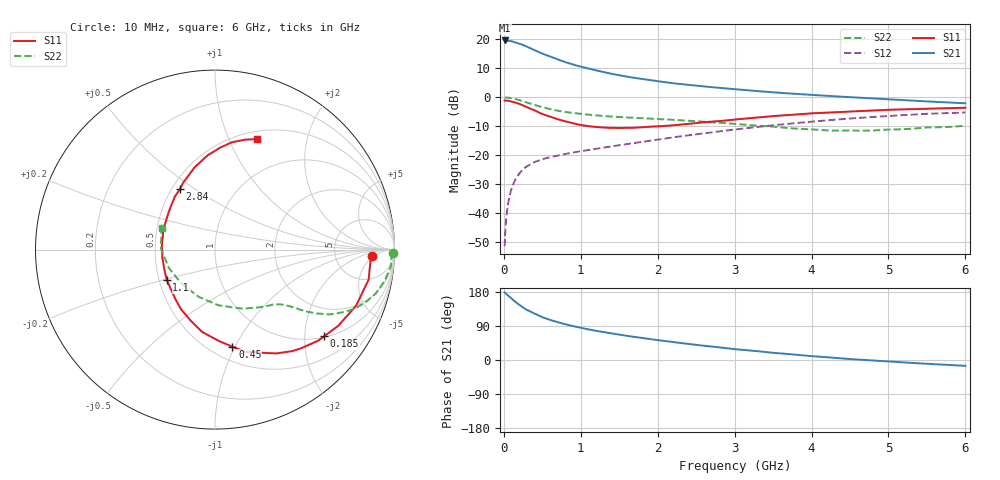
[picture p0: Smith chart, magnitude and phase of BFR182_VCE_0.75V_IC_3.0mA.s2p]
! Infineon Technologies  Discrete & RF Semiconductors
! BFR182
! VCE = 0.75 V,  IC =  3.0 mA
! Common Emitter S-Parameters:  Nov 2015
# GHz  S  MA  R  50
!  f  S11  S21  S12  S22
! GHz  MAG  ANG  MAG  ANG  MAG  ANG  MAG  ANG
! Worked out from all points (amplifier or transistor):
!   210 points, 10 MHz to 6 GHz, reference 50 ohm
!   highest |S21| = 19.6 dB at 10 MHz (marker M1)
!   |S21| within 3 dB of that: start of sweep to 369.9 MHz
!   unconditionally stable (mu >= 1): 1.209 GHz to 3.358 GHz
!   at 185 MHz: K = 0.25, MSG = 22.8 dB, |S12| = -27.0 dB
!   at 1.52 GHz: K = 1.08, MAG = 10.3 dB, |S12| = -16.5 dB
!   at 6 GHz: K = 0.94, MSG = 1.6 dB, |S12| = -5.3 dB
!   S11 on the Smith chart (normalised r, x): 10 MHz: 14, -4; 185 MHz: 1.03, -2.50; 450 MHz: 0.63, -0.98; 1.1 GHz: 0.55, -0.21; 2.84 GHz: 0.55, +0.44; 6 GHz: 0.59, +1.27
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0.01  0.8764 -2.4  9.497 178.4  0.0027 91.3  0.9921 -1.1
0.02  0.8685 -4.2  9.376 176.3  0.0052 88.0  0.9832 -2.2
0.04  0.8695 -8.8  9.352 172.8  0.0106 83.3  0.9836 -4.3
0.1  0.8458 -21.8  9.226 162.4  0.0264 79.0  0.9619 -10.4
0.15  0.8073 -31.7  8.774 153.3  0.038 72.3  0.9286 -15.2
0.185  0.7768 -38.4  8.49 148.1  0.0449 68.9  0.9016 -17.9
0.24  0.7286 -49.1  8.032 139.9  0.0552 64.2  0.8561 -22.0
0.3  0.6716 -59.5  7.422 132.1  0.0642 61.0  0.8054 -25.5
0.45  0.5495 -79.8  6.022 118.0  0.0807 54.5  0.7038 -30.6
0.5  0.5133 -86.8  5.632 112.9  0.0851 53.0  0.6725 -32.0
0.6  0.4644 -98.9  5.018 105.6  0.0921 51.4  0.6211 -33.9
0.7  0.4164 -109.3  4.483 99.5  0.0989 50.6  0.5836 -35.1
0.8  0.3836 -119.4  4.015 94.1  0.105 49.7  0.5552 -35.9
1.02  0.3276 -139.8  3.307 84.0  0.118 50.0  0.5118 -37.7
1.1  0.3174 -147.8  3.115 80.8  0.1227 50.3  0.4992 -38.3
1.6  0.2973 175.9  2.254 63.7  0.1552 52.2  0.4469 -43.2
2.02  0.3146 151.3  1.868 52.0  0.1877 52.6  0.4193 -49.0
2.84  0.3917 119.7  1.432 32.4  0.2615 50.0  0.3601 -65.7
3.1  0.4231 112.9  1.335 26.9  0.2867 48.0  0.3371 -72.8
4.1  0.5336 93.1  1.075 8.8  0.3883 38.4  0.2724 -113.1
5.1  0.6113 79.6  0.905 -5.3  0.4829 26.0  0.2777 -162.9
6  0.658 69.3  0.784 -15.4  0.5451 13.0  0.3208 158.2
